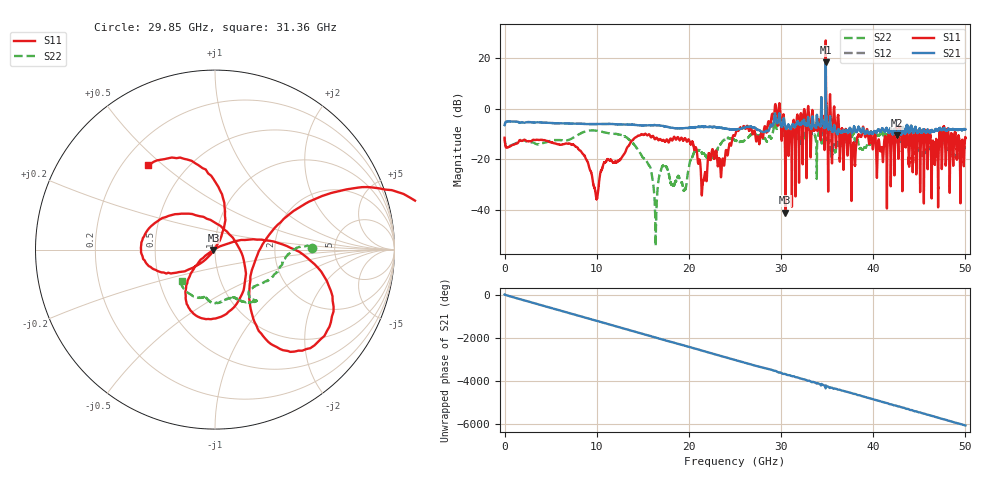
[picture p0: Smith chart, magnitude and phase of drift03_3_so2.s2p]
!Created with skrf (http://scikit-rf.org).
# Hz S RI R 50.0
!freq ReS11 ImS11 ReS21 ImS21 ReS12 ImS12 ReS22 ImS22
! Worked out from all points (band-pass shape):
!   10001 points, 300 kHz to 50 GHz, reference 50 ohm
!   highest |S21| = 18.39 dB at 34.85 GHz (marker M1); lowest = -10.5 dB at 42.55 GHz (marker M2)
!   |S21| within 3 dB of the highest: 34.84255 GHz to 34.8485 GHz (5.949 MHz wide, 0.0171 % of centre)
!   lowest |S11| = -41.0 dB at 30.47 GHz (marker M3), VSWR 1.02, Z = 49.1 - j0.158 ohm
!   |S11| at or under -10 dB: start of sweep to 15.22 GHz; 15.32 GHz to 25.05 GHz (9.736 GHz wide, 48.2 % of centre); 40.22 GHz to 41.67 GHz (1.452 GHz wide, 3.55 % of centre) (the widest 3 of 60)
!   |S22| runs from -54.3 to 10.0 dB; largest |S21 - S12| = 1.3
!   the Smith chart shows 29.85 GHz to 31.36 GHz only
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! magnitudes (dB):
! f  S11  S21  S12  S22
! 300 kHz  -11.5  -6.5  -6.5  -11.5
! 8.335 GHz  -17.1  -6.0  -6.0  -9.6
! 9.955 GHz  -35.5  -6.1  -6.1  -8.7
! 11 GHz  -21.0  -6.1  -6.0  -9.5
! 15.47 GHz  -10.6  -6.6  -6.6  -21.2
! 16.36 GHz  -11.9  -6.5  -6.5  -45.3
! 16.67 GHz  -12.4  -6.6  -6.5  -28.9
! 17.32 GHz  -12.7  -7.0  -6.9  -22.8
! 19.53 GHz  -11.8  -7.7  -7.7  -32.0
! 20.21 GHz  -13.9  -7.5  -7.5  -20.0
! 21.56 GHz  -28.4  -7.2  -7.2  -17.7
! 25 GHz  -10.6  -8.3  -8.3  -12.5
! 29.6 GHz  -5.6  -5.7  -5.9  -7.9
! 30.47 GHz  -41.0  -7.2  -7.2  -9.1
! 33.34 GHz  -3.9  -7.0  -6.9  -9.5
! 34.85 GHz  26.9  18.4  18.3  10.0
! 35.63 GHz  -6.9  -9.1  -9.0  -15.8
! 37.83 GHz  -13.8  -8.3  -8.3  -9.9
! 39.08 GHz  -10.6  -9.6  -9.7  -15.4
! 41.67 GHz  -10.0  -9.6  -9.5  -11.6
! 42.55 GHz  -8.6  -10.5  -10.5  -13.0
! 50 GHz  -11.4  -8.1  -8.2  -15.5
